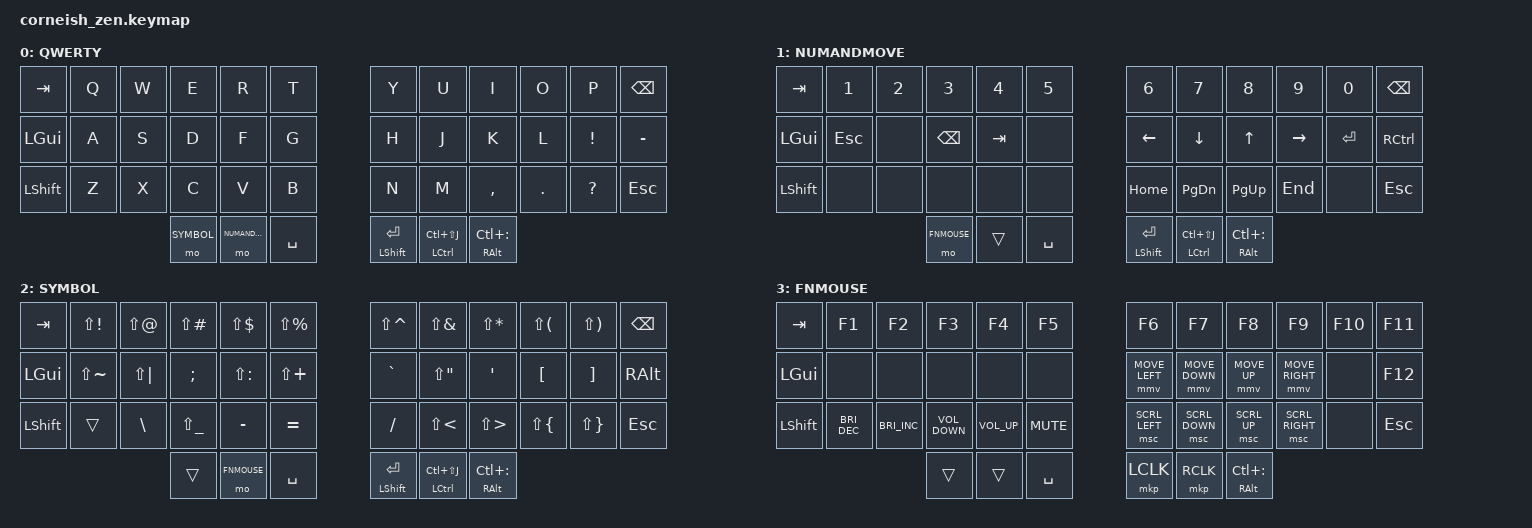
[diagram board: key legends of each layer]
/*
*
* Copyright (c) 2021 lowprokb.ca
* SPDX-License-Identifier: MIT
*
*/

#include <behaviors.dtsi>
#include <dt-bindings/zmk/keys.h>
#include <dt-bindings/zmk/bt.h>
#include <dt-bindings/zmk/mouse.h>

#include <behaviors/mouse_key_press.dtsi>
#include <behaviors/mouse_move.dtsi>
#include <behaviors/mouse_scroll.dtsi>

#define QWERTY 0
#define NUMANDMOVE 1
#define SYMBOL 2
#define FNMOUSE 3

&mmv {
   time-to-max-speed-ms = <2400>;
   acceleration-exponent=<0>;
};

&msc {
   time-to-max-speed-ms = <2400>;
};

/ {
        keymap {
                compatible = "zmk,keymap";

                default_layer {
                        label = "QWERTY";
                        bindings = <
   &kp TAB    &kp Q  &kp W  &kp E       &kp R           &kp T      &kp Y            &kp U                &kp I               &kp O    &kp P         &kp BKSP
   &kp LGUI   &kp A  &kp S  &kp D       &kp F           &kp G      &kp H            &kp J                &kp K               &kp L    &kp EXCL      &kp MINUS 
   &kp LSHFT  &kp Z  &kp X  &kp C       &kp V           &kp B      &kp N            &kp M                &kp CMMA            &kp DOT  &kp QUESTION  &kp ESC 
                            &mo SYMBOL  &mo NUMANDMOVE  &kp SPC    &mt LSHFT ENTER  &mt LCTRL LC(LS(J))  &mt RALT LC(COLON)
                        >;
                };

                numandmove_layer {
                        label = "NUMANDMOVE";
                        bindings = <
   &kp TAB    &kp N1   &kp N2  &kp N3       &kp N4   &kp N5       &kp N6           &kp N7               &kp N8              &kp N9     &kp N0     &kp BSPC
   &kp LGUI   &kp ESC  &none   &kp BSPC     &kp TAB  &none        &kp LEFT         &kp DOWN             &kp UP              &kp RIGHT  &kp ENTER  &kp RCTRL
   &kp LSHFT  &none    &none   &none        &none    &none        &kp HOME         &kp PAGE_DOWN        &kp PAGE_UP         &kp END    &none      &kp ESC
                               &mo FNMOUSE  &trans   &kp SPC      &mt LSHFT ENTER  &mt LCTRL LC(LS(J))  &mt RALT LC(COLON)
                         >;
                };

                symbol_layer {
                        label = "SYMBOL";
                        bindings = < 
   &kp TAB    &kp LS(EXCL)   &kp LS(AT)    &kp LS(POUND)  &kp LS(DLLR)   &kp LS(PRCNT)    &kp LS(CARET)    &kp LS(AMPS)         &kp LS(STAR)        &kp LS(LPAR)  &kp LS(RPAR)  &kp BSPC
   &kp LGUI   &kp LS(TILDE)  &kp LS(PIPE)  &kp SEMI       &kp LS(COLON)  &kp LS(PLUS)     &kp GRAVE        &kp LS(DQT)          &kp SQT             &kp LBKT      &kp RBKT      &kp RALT
   &kp LSHFT  &trans         &kp BSLH      &kp LS(UNDER)  &kp MINUS      &kp EQUAL        &kp FSLH         &kp LS(LT)           &kp LS(GT)          &kp LS(LBRC)  &kp LS(RBRC)  &kp ESC
                                           &trans         &mo FNMOUSE    &kp SPC          &mt LSHFT ENTER  &mt LCTRL LC(LS(J))  &mt RALT LC(COLON)
                        >;
                };

                fnmouse_layer {
                        label = "FNMOUSE";
                        bindings = <
   &kp TAB    &kp F1                &kp F2                &kp F3             &kp F4           &kp F5        &kp F6           &kp F7          &kp F8              &kp F9           &kp F10  &kp F11 
   &kp LGUI   &none                 &none                 &none              &none            &none         &mmv MOVE_LEFT   &mmv MOVE_DOWN  &mmv MOVE_UP        &mmv MOVE_RIGHT  &none    &kp F12 
   &kp LSHFT  &kp C_BRIGHTNESS_DEC  &kp C_BRIGHTNESS_INC  &kp C_VOLUME_DOWN  &kp C_VOLUME_UP  &kp C_MUTE    &msc SCRL_LEFT   &msc SCRL_DOWN  &msc SCRL_UP        &msc SCRL_RIGHT  &none    &kp ESC
                                                          &trans             &trans           &kp SPC       &mkp LCLK        &mkp RCLK       &mt RALT LC(COLON)
                        >;
                };
        };
};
